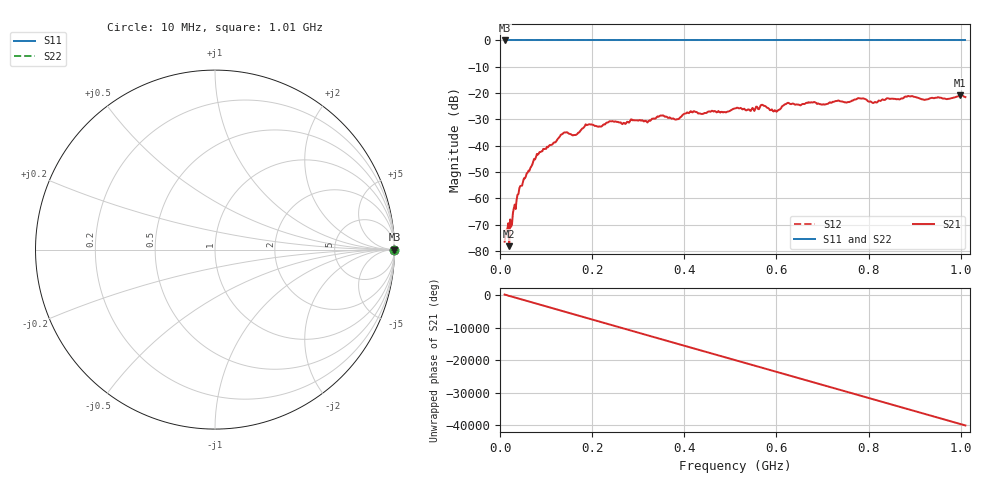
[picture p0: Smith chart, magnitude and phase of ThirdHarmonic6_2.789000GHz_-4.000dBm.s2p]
! 8/17/2025 7:11:53 AM
! C:\ANRITSUVNA\TEMP\TEMP.S2P
! CHANNEL.1
! TR.MEASUREMENT
! RAW.DATA
! RF.CORRECTION.OFF
! AVERAGING.OFF
! IF.BANDWIDTH: 5KHZ
! SWEEPTYPE:  FREQ.SWEEP(Linear)
! Reference Plane Port Info
! PORT:  PORT1  PORT2
! DISTANCE:  0  m  0  m
! TIME:  0  s  0  s
! PHASE.OFFSET:  0  deg.  0  deg.
! LOSS:  0  dB  0  dB
! REF.LOSS:  0  dB  0  dB
! REF.FREQ:  0  Hz  0  Hz
! Power Info
! POWER:  -20  dBm  -20  dBm
! EFF.POWER:  -20  dBm  -20  dBm
! SOURCE.ATTEN:  0  dB  0  dB
! TEST.ATTEN:  0  dB  0  dB
# GHZ S RI R 50.0
! FREQ.GHZ  S11RE  S11IM  S21RE  S21IM  S12RE  S12IM  S22RE  S22IM
!; PortSelection: Port_12
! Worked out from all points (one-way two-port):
!   501 points, 10 MHz to 1.01 GHz, reference 50 ohm
!   highest |S21| = -20.87 dB at 998 MHz (marker M1); lowest = -78.2 dB at 20 MHz (marker M2)
!   lowest |S11| = 0.0 dB at 10 MHz (marker M3)
!   |S11| at or under -10 dB: nowhere
!   |S22| runs from 0.0 to 0.0 dB; largest |S21 - S12| = 1.1
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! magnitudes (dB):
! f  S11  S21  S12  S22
! 10 MHz  0.0  -76.5  0.0  0.0
! 20 MHz  0.0  -78.2  0.0  0.0
! 24 MHz  0.0  -70.8  0.0  0.0
! 26 MHz  0.0  -70.0  0.0  0.0
! 42 MHz  0.0  -56.2  0.0  0.0
! 78 MHz  0.0  -44.4  0.0  0.0
! 136 MHz  0.0  -35.5  0.0  0.0
! 162 MHz  0.0  -36.0  0.0  0.0
! 178 MHz  0.0  -33.6  0.0  0.0
! 190 MHz  0.0  -32.1  0.0  0.0
! 322 MHz  0.0  -30.7  0.0  0.0
! 344 MHz  0.0  -29.0  0.0  0.0
! 384 MHz  0.0  -29.9  0.0  0.0
! 416 MHz  0.0  -27.2  0.0  0.0
! 510 MHz  0.0  -25.9  0.0  0.0
! 570 MHz  0.0  -24.5  0.0  0.0
! 598 MHz  0.0  -26.7  0.0  0.0
! 622 MHz  0.0  -24.0  0.0  0.0
! 678 MHz  0.0  -23.6  0.0  0.0
! 844 MHz  0.0  -22.1  0.0  0.0
! 998 MHz  0.0  -20.9  0.0  0.0
! 1.01 GHz  0.0  -21.5  0.0  0.0
